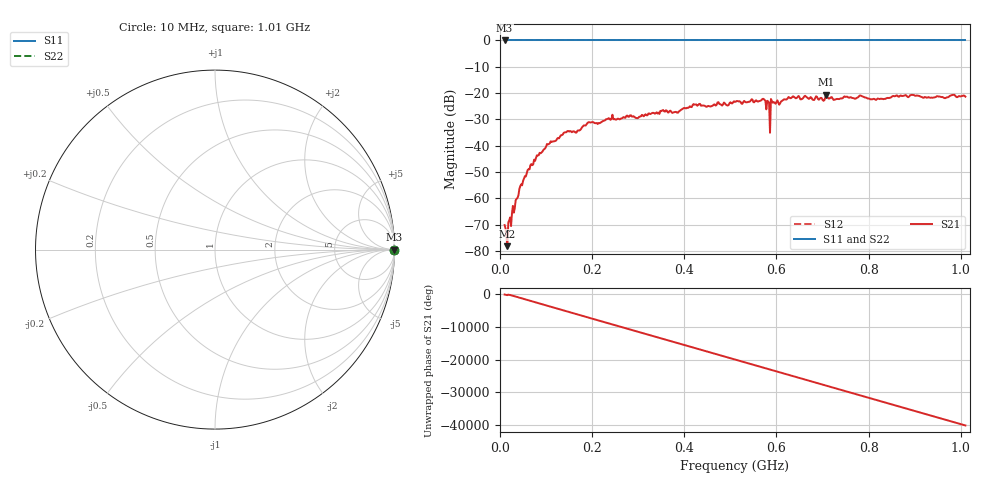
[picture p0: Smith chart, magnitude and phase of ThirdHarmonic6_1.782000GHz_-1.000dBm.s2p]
! 8/16/2025 9:32:49 PM
! C:\ANRITSUVNA\TEMP\TEMP.S2P
! CHANNEL.1
! TR.MEASUREMENT
! RAW.DATA
! RF.CORRECTION.OFF
! AVERAGING.OFF
! IF.BANDWIDTH: 5KHZ
! SWEEPTYPE:  FREQ.SWEEP(Linear)
! Reference Plane Port Info
! PORT:  PORT1  PORT2
! DISTANCE:  0  m  0  m
! TIME:  0  s  0  s
! PHASE.OFFSET:  0  deg.  0  deg.
! LOSS:  0  dB  0  dB
! REF.LOSS:  0  dB  0  dB
! REF.FREQ:  0  Hz  0  Hz
! Power Info
! POWER:  -20  dBm  -20  dBm
! EFF.POWER:  -20  dBm  -20  dBm
! SOURCE.ATTEN:  0  dB  0  dB
! TEST.ATTEN:  0  dB  0  dB
# GHZ S RI R 50.0
! FREQ.GHZ  S11RE  S11IM  S21RE  S21IM  S12RE  S12IM  S22RE  S22IM
!; PortSelection: Port_12
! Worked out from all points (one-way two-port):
!   501 points, 10 MHz to 1.01 GHz, reference 50 ohm
!   highest |S21| = -20.56 dB at 708 MHz (marker M1); lowest = -78.1 dB at 16 MHz (marker M2)
!   lowest |S11| = 0.0 dB at 10 MHz (marker M3)
!   |S11| at or under -10 dB: nowhere
!   |S22| runs from 0.0 to 0.0 dB; largest |S21 - S12| = 1.1
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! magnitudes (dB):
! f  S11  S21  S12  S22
! 10 MHz  0.0  -70.1  0.0  0.0
! 12 MHz  0.0  -71.4  0.0  0.0
! 16 MHz  0.0  -78.1  0.0  0.0
! 46 MHz  0.0  -54.6  0.0  0.0
! 78 MHz  0.0  -44.7  0.0  0.0
! 106 MHz  0.0  -39.3  0.0  0.0
! 142 MHz  0.0  -34.9  0.0  0.0
! 178 MHz  0.0  -33.0  0.0  0.0
! 240 MHz  0.0  -30.2  0.0  0.0
! 344 MHz  0.0  -27.4  0.0  0.0
! 422 MHz  0.0  -24.4  0.0  0.0
! 510 MHz  0.0  -23.3  0.0  0.0
! 572 MHz  0.0  -22.2  0.0  0.0
! 580 MHz  0.0  -22.9  0.0  0.0
! 582 MHz  0.0  -23.1  0.0  0.0
! 590 MHz  0.0  -22.9  0.0  0.0
! 592 MHz  0.0  -23.7  0.0  0.0
! 636 MHz  0.0  -21.2  0.0  0.0
! 678 MHz  0.0  -22.4  0.0  0.0
! 708 MHz  0.0  -20.6  0.0  0.0
! 844 MHz  0.0  -21.9  0.0  0.0
! 1.01 GHz  0.0  -21.3  0.0  0.0
